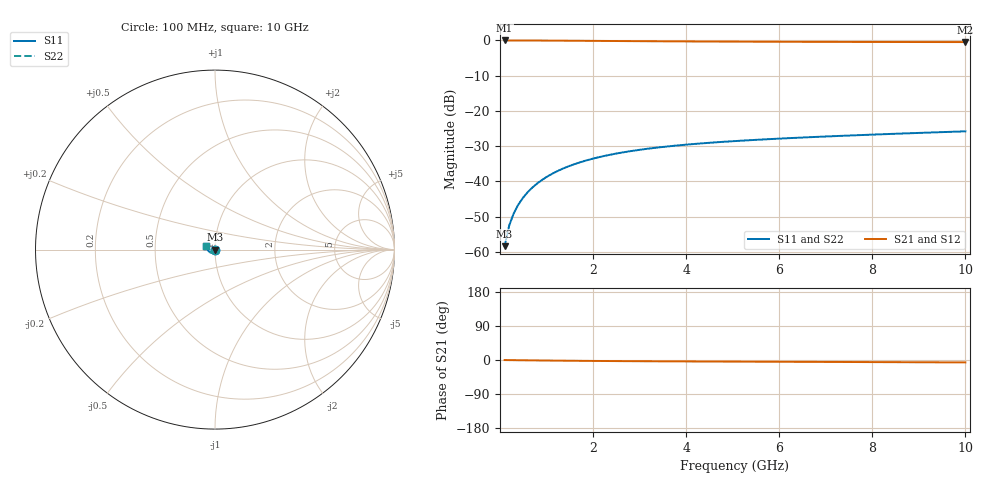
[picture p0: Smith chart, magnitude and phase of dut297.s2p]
! Touchstone file exported from HFSS 2024.1.0
!  File:  C:/UserFiles/LocalFiles/RDL_TSV_Batchsim/temp_TSV1_297_1779394693.aedt
!  Generated:  04:23:51 AM May 22, 2026
!  Design:  TSV1
!  Project:  temp_TSV1_297_1779394693
!  Setup:  Setup1
!  Solution:  Sweep
! Variables:
!  dtsv = 8.75um
!  hbump = 3um
!  htsv = 98.34um
!  lrdl = 252.1521522um
!  p = 40
!  p1 = 57.74um
!  t = 500um
!  trdl = 3um
!  wrdl = 24.89489489um
# GHz S MA R 50.000000
! Terminal data exported
! Port[1] = TSV22_T1
! Port[2] = TSV22_T2
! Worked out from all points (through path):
!   100 points, 100 MHz to 10 GHz, reference 50 ohm
!   highest |S21| = 0.00 dB at 100 MHz (marker M1); lowest = -0.5 dB at 10 GHz (marker M2)
!   lowest |S11| = -58.4 dB at 100 MHz (marker M3), VSWR 1.00, Z = 50 - j0.119 ohm
!   |S11| at or under -10 dB: start of sweep to end of sweep
!   |S22| runs from -58.4 to -25.8 dB; largest |S21 - S12| = 7e-15
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0.1  0.001205 -81.9  0.9997 -0.1  0.9997 -0.1  0.001205 -81.9
! Gamma 0 0 0 0
! Port Impedance 50 0 50 0
0.2  0.002384 -88.9  0.9996 -0.3  0.9996 -0.3  0.002384 -88.9
0.3  0.003568 -92.7  0.9994 -0.4  0.9994 -0.4  0.003568 -92.7
0.4  0.004748 -95.6  0.999 -0.6  0.999 -0.6  0.004748 -95.6
0.5  0.005918 -98.2  0.9986 -0.7  0.9986 -0.7  0.005918 -98.2
0.6  0.007077 -100.7  0.9982 -0.9  0.9982 -0.9  0.007077 -100.7
0.7  0.00822 -103.0  0.9976 -1.0  0.9976 -1.0  0.00822 -103.0
0.8  0.009346 -105.3  0.997 -1.1  0.997 -1.1  0.009346 -105.3
0.9  0.01045 -107.4  0.9963 -1.3  0.9963 -1.3  0.01045 -107.4
1.1  0.0126 -111.6  0.9948 -1.5  0.9948 -1.5  0.0126 -111.6
1.4  0.01565 -117.6  0.9922 -1.8  0.9922 -1.8  0.01565 -117.6
1.6  0.01756 -121.5  0.9903 -2.1  0.9903 -2.1  0.01756 -121.5
1.8  0.01936 -125.1  0.9883 -2.3  0.9883 -2.3  0.01936 -125.1
2.1  0.02186 -130.4  0.9853 -2.5  0.9853 -2.5  0.02186 -130.4
2.5  0.02484 -136.9  0.9813 -2.9  0.9813 -2.9  0.02484 -136.9
2.9  0.02746 -142.9  0.9775 -3.1  0.9775 -3.1  0.02746 -142.9
3.4  0.0303 -149.7  0.9732 -3.4  0.9732 -3.4  0.0303 -149.7
4.2  0.03407 -159.4  0.9673 -3.9  0.9673 -3.9  0.03407 -159.4
5.1  0.03751 -168.7  0.962 -4.3  0.962 -4.3  0.03751 -168.7
6.7  0.04251 177.8  0.9554 -5.0  0.9554 -5.0  0.04251 177.8
8.4  0.04715 166.4  0.9509 -5.7  0.9509 -5.7  0.04716 166.4
10  0.05134 157.5  0.948 -6.4  0.948 -6.4  0.05134 157.5
